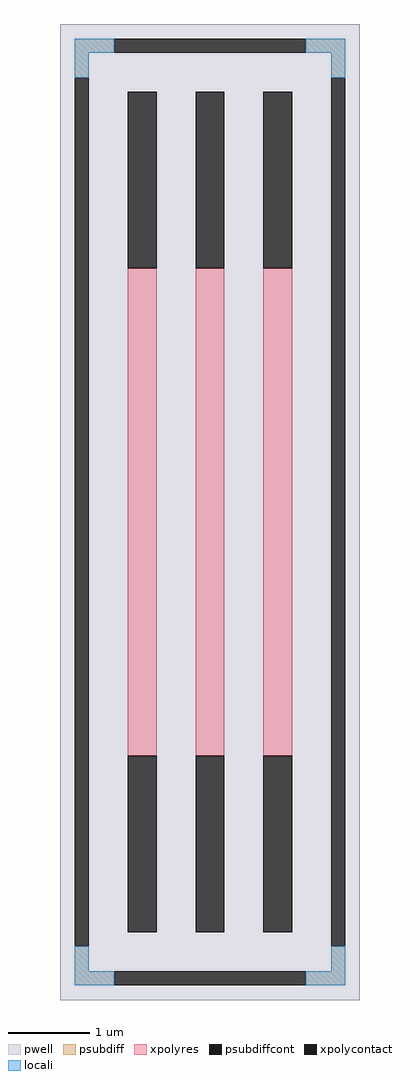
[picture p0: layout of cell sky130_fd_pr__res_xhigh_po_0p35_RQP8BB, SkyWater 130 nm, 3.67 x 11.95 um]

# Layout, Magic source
magic
tech sky130A
magscale 1 2
<< pwell >>
rect -367 -1195 367 1195
<< psubdiff >>
rect -331 1125 -235 1159
rect 235 1125 331 1159
rect -331 1063 -297 1125
rect 297 1063 331 1125
rect -331 -1125 -297 -1063
rect 297 -1125 331 -1063
rect -331 -1159 -235 -1125
rect 235 -1159 331 -1125
<< psubdiffcont >>
rect -235 1125 235 1159
rect -331 -1063 -297 1063
rect 297 -1063 331 1063
rect -235 -1159 235 -1125
<< xpolycontact >>
rect -201 597 -131 1029
rect -201 -1029 -131 -597
rect -35 597 35 1029
rect -35 -1029 35 -597
rect 131 597 201 1029
rect 131 -1029 201 -597
<< xpolyres >>
rect -201 -597 -131 597
rect -35 -597 35 597
rect 131 -597 201 597
<< locali >>
rect -331 1125 -235 1159
rect 235 1125 331 1159
rect -331 1063 -297 1125
rect 297 1063 331 1125
rect -331 -1125 -297 -1063
rect 297 -1125 331 -1063
rect -331 -1159 -235 -1125
rect 235 -1159 331 -1125
<< properties >>
string FIXED_BBOX -314 -1142 314 1142
string gencell sky130_fd_pr__res_xhigh_po_0p35
string library sky130
string parameters w 0.350 l 6.125 m 1 nx 3 wmin 0.350 lmin 0.50 class resistor rho 2000 val 36.075k dummy 0 dw 0.0 term 188.2 sterm 0.0 caplen 0 wmax 0.350 guard 1 glc 1 grc 1 gtc 1 gbc 1 compatible {sky130_fd_pr__res_xhigh_po_0p35  sky130_fd_pr__res_xhigh_po_0p69 sky130_fd_pr__res_xhigh_po_1p41  sky130_fd_pr__res_xhigh_po_2p85 sky130_fd_pr__res_xhigh_po_5p73} snake 0 full_metal 1 n_guard 0 hv_guard 0 vias 0 viagb 0 viagt 0 viagl 0 viagr 0
<< end >>
